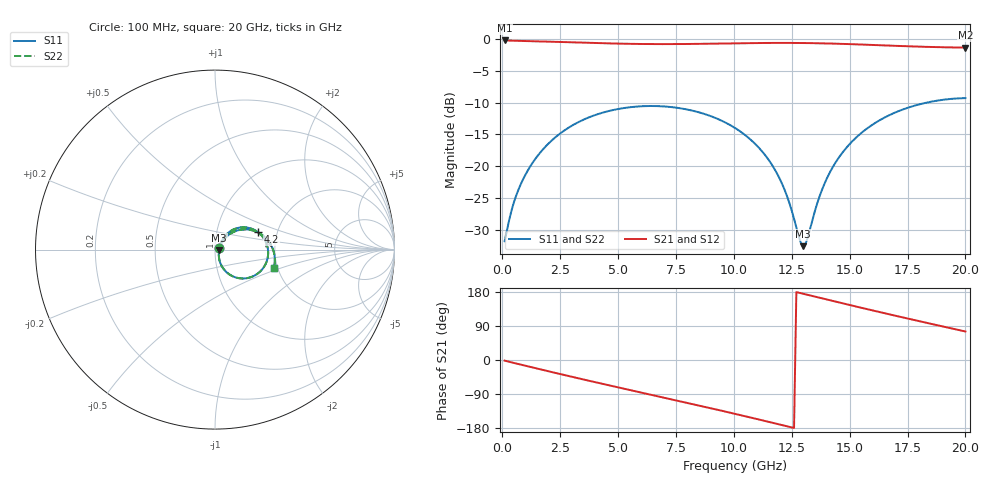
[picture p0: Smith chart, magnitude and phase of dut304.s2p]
! Touchstone file exported from HFSS 2026.1.0
!  File:  C:/ffzhzh/LocalFiles/Ansys_Project_Files/temp_train_TSV_RDL_304_1783027965_4048.aedt
!  Generated:  05:45:01 AM Jul  3, 2026
!  Design:  TSV_RDL
!  Project:  temp_train_TSV_RDL_304_1783027965_4048
! Variables:
!  h_bsmrdl = 3.65um
!  h_ox = 20um
!  h_rdl = 5um
!  h_sub = 58.02um
!  h_tmrdl = 3.23um
!  h_tsv = 58.02um
!  h_via = 3um
!  l_bsmrdl = 887.99um
!  l_sub = 4677.54um
!  l_tmrdl = 372.47um
!  m_sub = 200um
!  pitch = 32.3um
!  r_tsv = 13.13um
!  s_tmrdl = 10um
!  w_bsmrdl = 15.79um
!  w_sub = 500um
!  w_tmrdl = 25.44um
!  x_tsv_center1 = 385.19um
!  x_tsv_center2 = 1288.97um
!  x_tsv_center3 = 1686.88um
!  x_tsv_center4 = 2590.66um
!  x_tsv_center5 = 2988.57um
!  x_tsv_center6 = 3892.35um
# GHz S MA R 50.000000
! Terminal data exported
! Port[1] = TM_RDL1_1_T1
! Port[2] = TM_RDL5_1_T1
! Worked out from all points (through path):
!   200 points, 100 MHz to 20 GHz, reference 50 ohm
!   highest |S21| = -0.21 dB at 100 MHz (marker M1); lowest = -1.3 dB at 20 GHz (marker M2)
!   group delay of S21, straight-line fit = 39.5 ps
!   lowest |S11| = -32.6 dB at 13 GHz (marker M3), VSWR 1.05, Z = 52.3 - j0.464 ohm
!   |S11| at or under -10 dB: start of sweep to 18.33 GHz
!   |S22| runs from -32.5 to -9.3 dB; largest |S21 - S12| = 7.5e-14
!   S11 on the Smith chart (normalised r, x): 100 MHz: 1.05, +0.02; 4.2 GHz: 1.59, +0.33; 20 GHz: 1.91, -0.44
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0.1  0.02556 21.1  0.9764 -1.6  0.9764 -1.6  0.02556 21.1
! Gamma 0 0 0 0
! Port Impedance 50 0 50 0
0.6  0.05857 51.4  0.9693 -9.3  0.9693 -9.3  0.05856 51.4
1.3  0.1056 52.9  0.9628 -19.6  0.9628 -19.6  0.1056 52.9
2.3  0.169 44.6  0.9523 -34.2  0.9523 -34.2  0.169 44.6
3.5  0.2316 30.6  0.9376 -51.3  0.9376 -51.3  0.2316 30.6
4.2  0.2591 21.8  0.9295 -61.1  0.9295 -61.1  0.2591 21.8
5.5  0.2906 5.3  0.9183 -79.1  0.9183 -79.1  0.2906 5.3
6.8  0.2963 -11.3  0.9138 -96.8  0.9138 -96.8  0.2963 -11.3
8.4  0.2679 -31.5  0.9174 -118.8  0.9174 -118.8  0.2679 -31.5
10.1  0.197 -52.6  0.9272 -142.8  0.9272 -142.8  0.1969 -52.5
11.1  0.1382 -63.5  0.9322 -157.3  0.9322 -157.3  0.1382 -63.4
11.8  0.09183 -68.3  0.934 -167.5  0.934 -167.5  0.09187 -68.1
12.3  0.05768 -66.2  0.9341 -174.9  0.9341 -174.9  0.05779 -65.8
12.8  0.02804 -40.7  0.9329 177.6  0.9329 177.6  0.02835 -40.1
13  0.02338 -10.9  0.9321 174.7  0.9321 174.7  0.0238 -10.8
13.4  0.03799 36.4  0.9299 168.7  0.9299 168.7  0.03831 35.9
13.9  0.07158 48.2  0.926 161.3  0.926 161.3  0.07179 47.9
14.6  0.1213 46.3  0.9188 151.0  0.9188 151.0  0.1215 46.1
15.5  0.1819 37.6  0.9071 137.9  0.9071 137.9  0.182 37.4
16.7  0.251 23.4  0.8897 120.7  0.8897 120.7  0.2511 23.3
18.3  0.3154 3.7  0.8694 98.4  0.8694 98.4  0.3154 3.6
20  0.343 -17.2  0.8582 75.2  0.8582 75.2  0.3431 -17.4
